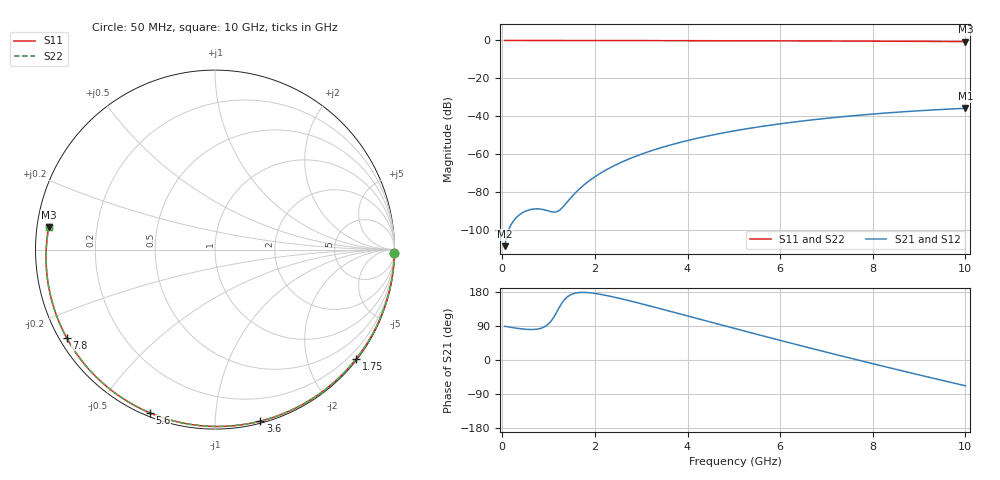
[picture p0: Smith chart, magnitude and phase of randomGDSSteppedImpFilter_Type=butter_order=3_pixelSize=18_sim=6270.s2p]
! freq	dB(S11)	phase(S11)	dB(S12)	phase(S12)
!  dB(S21)	phase(S21)	dB(S22)	phase(S22)
!S-par simulation data
#  GHz  S  DB  R 50
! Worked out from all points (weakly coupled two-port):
!   200 points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, 50 MHz to 10 GHz, reference 50 ohm
!   highest |S21| = -35.85 dB at 10 GHz (marker M1); lowest = -108.7 dB at 50 MHz (marker M2)
!   lowest |S11| = -0.6 dB at 10 GHz (marker M3), VSWR 29.53, Z = 1.7 + j3.32 ohm
!   |S11| at or under -10 dB: nowhere
!   |S22| runs from -0.6 to 0.0 dB; largest |S21 - S12| = 0
!   S11 on the Smith chart (normalised r, x): 50 MHz: open; 1.75 GHz: 0.03, -2.91; 3.6 GHz: 0.02, -1.30; 5.6 GHz: 0.02, -0.68; 7.8 GHz: 0.02, -0.27; 10 GHz: 0.03, +0.07
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0.05  -0.00 -1.1  -108.68 88.9  -108.68 88.9  -0.00 -1.1
0.4  -0.01 -8.8  -91.58 82.3  -91.58 82.3  -0.01 -8.8
0.8  -0.02 -17.6  -89.01 82.5  -89.01 82.5  -0.02 -17.6
1.2  -0.03 -26.2  -90.25 132.2  -90.25 132.2  -0.03 -26.2
1.6  -0.04 -34.7  -80.00 177.0  -80.00 177.0  -0.04 -34.7
1.75  -0.05 -37.9  -76.62 178.4  -76.62 178.4  -0.05 -37.9
2.05  -0.06 -44.1  -71.20 174.8  -71.20 174.8  -0.06 -44.2
2.25  -0.06 -48.3  -68.28 170.2  -68.28 170.2  -0.06 -48.3
2.45  -0.07 -52.4  -65.75 164.9  -65.75 164.9  -0.07 -52.4
2.9  -0.08 -61.5  -61.02 151.6  -61.02 151.6  -0.08 -61.5
3.4  -0.09 -71.3  -56.86 135.8  -56.86 135.8  -0.09 -71.4
3.6  -0.10 -75.2  -55.43 129.3  -55.43 129.3  -0.10 -75.2
4.3  -0.12 -88.4  -51.18 106.5  -51.18 106.5  -0.12 -88.5
5.05  -0.16 -102.1  -47.59 82.2  -47.59 82.2  -0.16 -102.1
5.6  -0.18 -111.8  -45.42 64.5  -45.42 64.5  -0.18 -111.9
6.15  -0.21 -121.3  -43.55 47.1  -43.55 47.1  -0.21 -121.4
6.7  -0.25 -130.7  -41.93 29.9  -41.93 29.9  -0.25 -130.8
7.25  -0.29 -140.0  -40.52 12.9  -40.52 12.9  -0.29 -140.1
7.8  -0.34 -149.3  -39.29 -3.8  -39.29 -3.8  -0.34 -149.4
8.35  -0.39 -158.6  -38.22 -20.2  -38.22 -20.2  -0.39 -158.7
9.2  -0.49 -173.3  -36.84 -45.2  -36.84 -45.2  -0.49 -173.4
10  -0.59 172.4  -35.85 -68.0  -35.85 -68.0  -0.59 172.3
